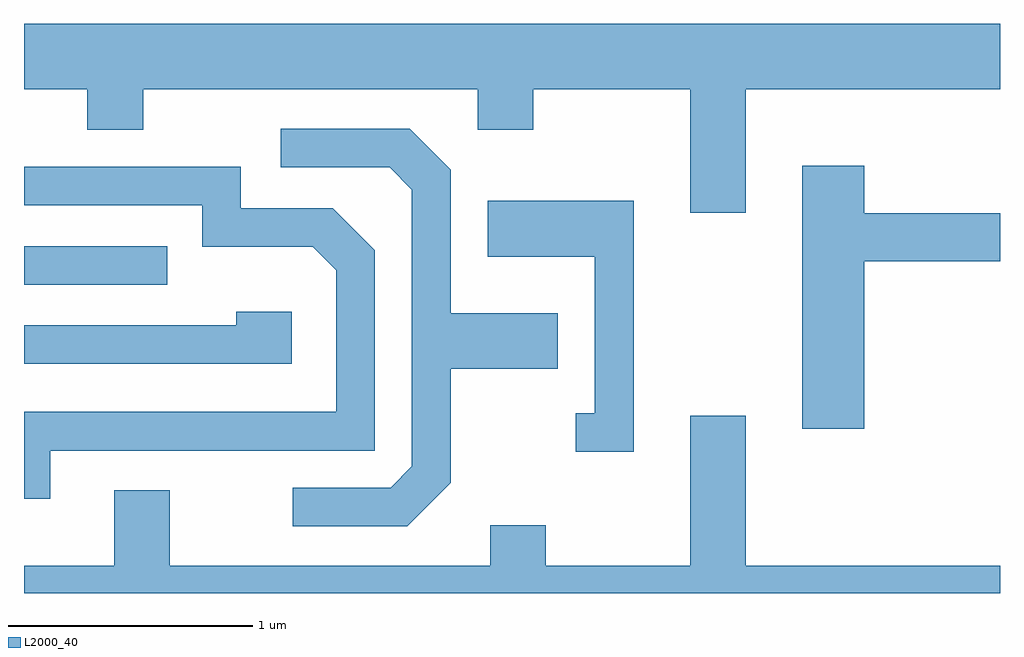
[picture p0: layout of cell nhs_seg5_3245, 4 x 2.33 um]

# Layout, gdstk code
import gdstk
lib = gdstk.Library(unit=1e-6, precision=1e-09)
def R(c, l, rs):  # rectangles x0, y0, x1, y1
    for r in rs: c.add(gdstk.rectangle(r[:2], r[2:], *l))
def P(c, l, *ps):  # polygons
    for p in ps: c.add(gdstk.Polygon(p, *l))
L2000_40 = (2000, 40)

nhs_seg5_3245 = lib.new_cell('nhs_seg5_3245')
R(nhs_seg5_3245, L2000_40, [(281.611,1449.336,282.198,1449.494)])
P(nhs_seg5_3245, L2000_40, [(281.611,1450.136),(281.871,1450.136),(281.871,1449.971),(282.099,1449.971),(282.099,1450.136),(283.471,1450.136),(283.471,1449.971),(283.699,1449.971),(283.699,1450.136),(284.341,1450.136),(284.341,1449.631),(284.569,1449.631),(284.569,1450.136),(285.611,1450.136),(285.611,1450.404),(281.611,1450.404)],
  [(283.359,1448.524),(283.359,1448.991),(283.799,1448.991),(283.799,1449.219),(283.359,1449.219),(283.359,1449.807),(283.192,1449.974),(282.663,1449.974),(282.663,1449.816),(283.109,1449.816),(283.201,1449.724),(283.201,1448.592),(283.114,1448.504),(282.713,1448.504),(282.713,1448.346),(283.182,1448.346)],
  [(285.054,1449.431),(285.611,1449.431),(285.611,1449.629),(285.054,1449.629),(285.054,1449.824),(284.801,1449.824),(284.801,1448.746),(285.054,1448.746)],
  [(281.719,1448.656),(283.049,1448.656),(283.049,1449.477),(282.877,1449.649),(282.499,1449.649),(282.499,1449.819),(281.611,1449.819),(281.611,1449.661),(282.341,1449.661),(282.341,1449.491),(282.794,1449.491),(282.891,1449.394),(282.891,1448.814),(281.611,1448.814),(281.611,1448.458),(281.719,1448.458)],
  [(284.109,1449.679),(283.511,1449.679),(283.511,1449.451),(283.951,1449.451),(283.951,1448.809),(283.873,1448.809),(283.873,1448.651),(284.109,1448.651)],
  [(282.709,1449.224),(282.481,1449.224),(282.481,1449.169),(281.611,1449.169),(281.611,1449.011),(282.709,1449.011)],
  [(285.611,1448.184),(284.569,1448.184),(284.569,1448.799),(284.341,1448.799),(284.341,1448.184),(283.749,1448.184),(283.749,1448.349),(283.521,1448.349),(283.521,1448.184),(282.209,1448.184),(282.209,1448.494),(281.981,1448.494),(281.981,1448.184),(281.611,1448.184),(281.611,1448.072),(285.611,1448.072)])

lib.write_gds('nhs_seg5_3245.gds')
